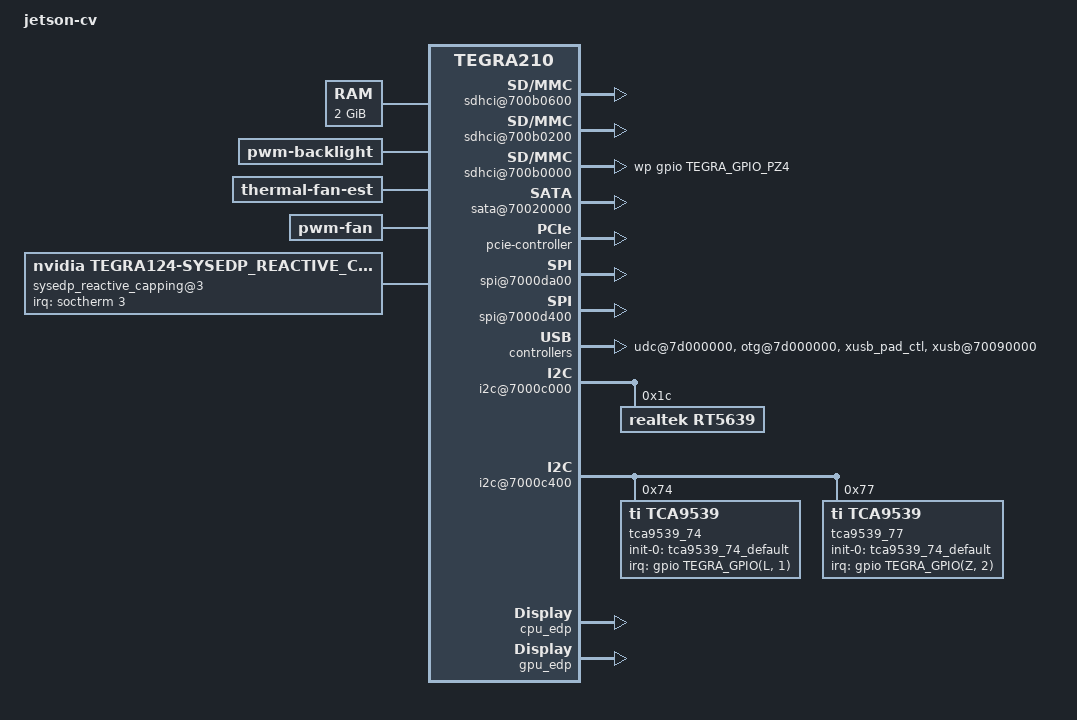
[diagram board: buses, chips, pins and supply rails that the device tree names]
/*
 * arch/arm64/boot/dts/tegra210-jetson-cv-base-p2597-2180-a00.dts
 *
 * Copyright (c) 2015, NVIDIA CORPORATION.  All rights reserved.
 *
 * This program is free software; you can redistribute it and/or modify
 * it under the terms of the GNU General Public License as published by
 * the Free Software Foundation; version 2 of the License.
 *
 * This program is distributed in the hope that it will be useful, but WITHOUT
 * ANY WARRANTY; without even the implied warranty of MERCHANTABILITY or
 * FITNESS FOR A PARTICULAR PURPOSE.  See the GNU General Public License for
 * more details.
 *
 */

/dts-v1/;

/memreserve/ 0x80000000 0x00020000;

#include "tegra210-common.dtsi"
#include "tegra210-platforms/tegra210-jetson-cv-power-tree-p2597-2180-a00.dtsi"
#include "tegra210-platforms/tegra210-jetson-cv-pinmux-p2597-2180-a00.dtsi"
#include "tegra210-platforms/tegra210-jetson-cv-sdmmc-drv-p2597-2180-a00.dtsi"
#include "tegra210-platforms/tegra210-pwm-fan-p2530-0930.dtsi"
#include "tegra210-platforms/tegra210-sdhci.dtsi"
#include "tegra210-platforms/tegra210-p2530-common.dtsi"
#include "tegra210-platforms/tegra210-thermal-fan-est-p2530-0930.dtsi"
#include "tegra210-platforms/tegra210-keys-p2530-0930.dtsi"
#include <dt-bindings/iio/meter/ina3221x.h>
#include "tegra210-platforms/tegra210-foster-e-extcon-p2530-0930-e01.dtsi"
#include "tegra210-platforms/tegra210-loki-e-emc-a01.dtsi"
#include "tegra210-platforms/tegra210-edp.dtsi"
#include "tegra210-platforms/tegra210-sysedp.dtsi"
#include "tegra210-platforms/tegra210-thermal-nct72-p2530.dtsi"
#include "tegra210-platforms/tegra210-thermal-Tboard-Tdiode.dtsi"


/ {
	model = "jetson-cv";
	compatible = "nvidia,jetson-cv", "nvidia,tegra210";
	nvidia,dtsfilename = __FILE__;

	nvidia,boardids = "2597:2180:A0";
	nvidia,proc-boardid = "2597:2180:A0";
	nvidia,pmu-boardid = "2597:2180:A0";
	#address-cells = <2>;
	#size-cells = <2>;

	chosen {
        };

	pmc@7000e400 {
		nvidia,invert-interrupt;
		platform-io-pad-voltage = <
				TEGRA210_PAD_AUDIO_HV IO_PAD_VOLTAGE_1_8V
				TEGRA210_PAD_SPI_HV IO_PAD_VOLTAGE_1_8V>;
	};

	memory@80000000 {
		device_type = "memory";
		reg = < 0x0 0x80000000 0x0 0x80000000 >;
	};

	sdhci@700b0600 { /* SDMMC4 for EMMC */
		uhs-mask = <0x0>;
		built-in;
		pll_source = "pll_p", "pll_c4_out2";
		power-off-rail;
		status = "okay";
	};

	sdhci@700b0200 { /* SDMMC2 for Wifi */
		uhs-mask = <0x8>;
		power-off-rail;
		status = "okay";
	};

	sdhci@700b0000 { /* SDMMC1 for SD card */
		uhs-mask = <0xc>;
		power-off-rail;
		nvidia,update-pinctrl-settings;
		pinctrl-names = "sdmmc_schmitt_enable", "sdmmc_schmitt_disable", "sdmmc_clk_schmitt_enable", "sdmmc_clk_schmitt_disable", "sdmmc_drv_code", "sdmmc_default_drv_code";
		pinctrl-0 = <&sdmmc1_schmitt_enable_state>;
		pinctrl-1 = <&sdmmc1_schmitt_disable_state>;
		pinctrl-2 = <&sdmmc1_clk_schmitt_enable_state>;
		pinctrl-3 = <&sdmmc1_clk_schmitt_disable_state>;
		pinctrl-4 = <&sdmmc1_drv_code_1_8V>;
		pinctrl-5 = <&sdmmc1_default_drv_code_3_3V>;
		nvidia,sd-device;
		wp-gpios = <&gpio TEGRA_GPIO_PZ4 0>;
		status = "okay";
	};

	adma@702e2000  {
		interrupts = <0 24 0x04
			      0 25 0x04
			      0 26 0x04
			      0 27 0x04
			      0 28 0x04
			      0 29 0x04
			      0 30 0x04
			      0 31 0x04
			      0 32 0x04
			      0 33 0x04>;
		dma-channels = <10>;
		status = "okay";
	};

	sata@70020000 {
		compatible = "nvidia,tegra210-ahci-sata";
		nvidia,enable-sata-port;
		status = "okay";
	};

	backlight {
		compatible = "pwm-backlight";
		status = "okay";
		panel-s-wqxga-10-1-bl {
			pwms = <&tegra_pwm 0 1000000>;
		};
		panel-a-wuxga-8-0-bl {
			pwms = <&tegra_pwm 0 40161>;
		};
	};

	pcie-controller {
		nvidia,wake-gpio = <&gpio TEGRA_GPIO(A, 2) 0>;
		nvidia,lane-map = <0x14>;
		dvdd-pex-pll-supply = <&max77620_ldo1>;
		l0-dvddio-pex-supply = <&max77620_ldo1>;
		l1-dvddio-pex-supply = <&max77620_ldo1>;
		l2-dvddio-pex-supply = <&max77620_ldo1>;
		l3-dvddio-pex-supply = <&max77620_ldo1>;
		l4-dvddio-pex-supply = <&max77620_ldo1>;
		l5-dvddio-pex-supply = <&max77620_ldo1>;
		l6-dvddio-pex-supply = <&max77620_ldo1>;
		hvdd-pex-pll-e-supply = <&max77620_sd3>;
		l0-hvddio-pex-supply = <&max77620_sd3>;
		l1-hvddio-pex-supply = <&max77620_sd3>;
		l2-hvddio-pex-supply = <&max77620_sd3>;
		l3-hvddio-pex-supply = <&max77620_sd3>;
		l4-hvddio-pex-supply = <&max77620_sd3>;
		l5-hvddio-pex-supply = <&max77620_sd3>;
		l6-hvddio-pex-supply = <&max77620_sd3>;
		vddio-pex-ctl-supply = <&max77620_sd3>;
		status = "okay";

		pci@1,0 {
			status = "okay";
		};

		pci@2,0 {
			status = "okay";
		};
	};

	spi@7000da00 {
		status = "ok";
	};

	spi@7000d400 {
		status = "okay";
	};

	extcon {
		extcon@0 {
			status = "disabled";
		};
	};

	udc@7d000000 {
		nvidia,port-otg;
		nvidia,charging-supported;
		#extcon-cells = <1>;
		status = "okay";
	};

        otg@7d000000 {
		#extcon-cells = <1>;
		status = "okay";
	};

	xusb_pad_ctl: padctl@0 { /* Put common control config here */
		nvidia,ss_portmap = <0x21>;
		nvidia,lane_owner = <0xff56>; /* Use 0xF to disable lane assign */
		status = "okay";
	};

	xusb@70090000 {
		/* nvidia,uses_external_pmic;
		/* nvidia,gpio_controls_muxed_ss_lanes; */
		nvidia,gpio_ss1_sata = <0>;
		nvidia,ulpicap = <0>; /* No ulpi support. can we remove */
		nvidia,portmap = <0x0e02>;
		nvidia,common_padctl = <&xusb_pad_ctl>;
		status = "okay";
	};

	xudc@700d0000 {
		nvidia,common_padctl = <&xusb_pad_ctl>;
		nvidia,portmap = <0x0108>;
		#extcon-cells = <1>;
		status = "disabled";
	};

	xotg {
		#extcon-cells = <1>;
		nvidia,common_padctl = <&xusb_pad_ctl>;
		status = "disabled";
	};

	gpio-keys {
		power {
			gpios = <&gpio TEGRA_GPIO(X, 7) GPIO_ACTIVE_LOW>;
		};

		sw_lid {
			status="disabled";
		};
	};

	gpu-dvfs-rework {
		status = "disabled";
	};

	thermal-fan-est {
		compatible = "thermal-fan-est";
		active_trip_temps = <0 63000 74000 85000 120000
				140000 150000 160000 170000 180000>;
		active_hysteresis = <0 15000 11000 6000 4000
				0 0 0 0 0>;
	};

	pwm-fan {
		compatible = "pwm-fan";
		shared_data = <&pwm_fan_shared_data>;
		active_pwm = <0 70 115 135 135 240 245 250 252 255>;
	};

	i2c@7000c000 {
		rt5639: rt5639.0-001c@1c {
			compatible = "realtek,rt5639";
			reg = <0x1c>;
		};
	};

	i2c@7000c400 {
		nvidia,clock-always-on;

		tca9539_74: tca9539@74 {
			compatible = "ti,tca9539";
			gpio-controller;
			#gpio-cells = <2>;
			reg = <0x74>;
			interrupt-parent = <&gpio>;
			interrupts = <TEGRA_GPIO(L, 1) 0x0>;
			gpio-init-names = "default";
			gpio-init-0 = <&tca9539_74_default>;
			tca9539_74_default: default {
				/*
				 * GPIO-10 : M2_E_ALERT_R_L
				 * GPIO-13 : TOUCH_ID
				 */
				gpio-input = <10 13>;

				/*
				 * GPIO-1 : EN_VDD_TS_1V8_PMIC
				 * GPIO-2 : EN_VDD_TS_HV_PMIC
				 * GPIO-3 : EN_VDD_DISP,
				 * GPIO-4 : PS_VDD_FAN_ENABLE
				 * GPIO-5 : MDM_EN
				 * GPIO-7 : MDM_EN, MDM_PWR_EN
				 * GPIO-11 : VDD_DISP_MUX_EN
				 * GPIO-12 : FLASH_INHIBIT
				 * GPIO-14 : 5V0_HDMI_EN
				 * GPIO-15 : EN_VDD_CAM_HV
				 * GPIO-16,17 : TP83, TP84
				 */
				gpio-output-low = <1 2 3 4 5 7 11 12 14 15 16 17>;

				/*
				 * GPIO-0 : W_DISABLE_L
				 * GPIO-6 : MDM_RST_L
				 */
				gpio-output-high = <0 6>;
			};
		};

		tca9539_77: tca9539@77 {
			compatible = "ti,tca9539";
			gpio-controller;
			#gpio-cells = <2>;
			reg = <0x77>;
			interrupt-parent = <&gpio>;
			interrupts = <TEGRA_GPIO(Z, 2) 0x0>;
			gpio-init-names = "default";
			gpio-init-0 = <&tca9539_74_default>;
			tca9539_77_default: default {
				/*
				 * GPIO-0 : DISP_CHARGER_STAT
				 * GPIO-1 : DISP_TYPEC_ORIENT
				 */
				gpio-input = <0 1>;

				/*
				 * GPIO-2 : TYPEC_INT		 Charger control HDR
				 * GPIO-3 : VDD_SYS_EN		 CAM HEADER
				 * GPIO-4 : LCD_BIAS_EN		 CAM HEADER
				 * GPIO-5 : TORCH_EN		 CAM HEADER
				 * GPIO-6 : FLASH_INHIBIT 	 CAM HEADER
				 * GPIO-7 : CAM2_PWDN		 CAM HEADER
				 * GPIO-10 : CAM2_RST		 CAM HEADER
				 * GPIO-11 : CAM_VDD_1V8_EN 	 CAM HEADER
				 * GPIO-12 : CAM_VDD_1V2_EN 	 CAM HEADER
				 * GPIO-13 : CAM_AF_PWDN    	 CAM HEADER
				 * GPIO-14 : CHG_BD_PRSNT_L 	 CAM HEADER
				 * GPIO-15 : BRIDGE_EN		 CAM HEADER
				 * GPIO-16 : NVSR_INT		 CAM HEADER
				 * GPIO-17 : BRIDGE_IRQ		 CAM HEADER
				 */
				gpio-output-low = <2 3 4 5 6 7 10 11 12 13 14 15 16 17>;
			};
		};
	};

	i2c@546c0000 {
		avdd_dsi_csi-supply = <&max77620_gpio7>;
	};

	sysedp {
		compatible = "nvidia,tegra124-sysedp";
		nvidia,margin = <0>;
		nvidia,min_budget = <0>;
		nvidia,initial_budget = <40000>;

		consumers {
			consumer1 {
				nvidia,consumer_name = "ov7695";
				nvidia,states = <0 124>;
			};
			consumer2 {
				nvidia,consumer_name = "primary-wifi";
				nvidia,states = <0 2345>;
			};
			consumer3 {
				nvidia,consumer_name = "secondary-wifi";
				nvidia,states = <0 1170>;
			};
			/*eMMC*/
			consumer4 {
				nvidia,consumer_name = "sdhci-tegra.3";
				nvidia,states = <0 1785>;
			};
			consumer5 {
				nvidia,consumer_name = "display_0";
				nvidia,states = <0 616>;
			};
			consumer6 {
				nvidia,consumer_name = "display_1";
				nvidia,states = <0 616>;
			};
			consumer7 {
				nvidia,consumer_name = "codec+speaker";
				nvidia,states = <0 1270>;
			};
			consumer8 {
				nvidia,consumer_name = "pwm-backlight";
				nvidia,states = <0 127 255 382 510 638 765 893 1020 1148 1276>;
			};
			/*SD Card */
			consumer9 {
				nvidia,consumer_name = "sdhci-tegra.0";
				nvidia,states = <0 1785>;
			};
		};
	};

    sysedp_reactive_capping@3 {
        compatible = "nvidia,tegra124-sysedp_reactive_capping";
        nvidia,max_capping_mw = <15000>;
        nvidia,step_alarm_mw = <1000>;
        nvidia,step_relax_mw = <500>;
        nvidia,relax_ms = <250>;
        interrupt-parent = <&soctherm>;
        interrupts = <3 0x2002>;
        sysedpc {
            nvidia,name = "batmon_oc3";
        };
    };

    sysedp-dynamic-capping {
        compatible = "nvidia,tegra124-sysedp-dynamic-capping";
        nvidia,throttle_depth = <75>;
        nvidia,cap_method = <1>;
    };

	cpu_edp {
		status = "okay";
		nvidia,edp_limit = <25000>;
	};

	gpu_edp {
		status = "okay";
		nvidia,edp_limit = <25000>;
	};

	modem {
		/* using XHCI UTMI */
		nvidia,phy-type = <2>;
	};

	soctherm@0x700E2000 {
		throttle@oc1 {
			device_type = "throttlectl";
			oc-alarm-id = <1>;
			priority = <50>;
			mode = "brief";
			intr;
			active_low;
			count_threshold = <100>;
			filter = <5100000>;
			throttle_dev = <&{/soctherm@0x700E2000/throttle_dev@cpu_medium}
					&{/soctherm@0x700E2000/throttle_dev@gpu_medium}>;
		};
		throttle@oc3 {
			device_type = "throttlectl";
			oc-alarm-id = <3>;
			priority = <50>;
			mode = "brief";
			intr;
			active_low;
			count_threshold = <15>;
			filter = <5100000>;
			throttle_dev = <&{/soctherm@0x700E2000/throttle_dev@cpu_medium}
					&{/soctherm@0x700E2000/throttle_dev@gpu_medium}>;
		};
		throttle_dev@cpu_medium {
			dividend = <63>;
			divisor = <255>;
			duration = <0>;
			step = <0>;
		};
		throttle_dev@gpu_medium {
			level = "medium_throttling";
		};
	};

	thermal-zones {
		CPU-therm {
			thermal-zone-params {
				governor-name = "pid_thermal_gov";
				max_err_temp = <9000>;
				max_err_gain = <1000>;
				gain_p = <1000>;
				gain_d = <0>;
				up_compensation = <20>;
				down_compensation = <20>;
			};
			trips {
				cpu_critical {
					temperature = <102500>;
					hysteresis = <0>;
					type = "critical";
					writable;
				};
				cpu_heavy {
					temperature = <98500>;
					hysteresis = <0>;
					type = "hot";
					writable;
				};
				cpu_throttle {
					temperature = <89000>;
					hysteresis = <0>;
					type = "passive";
					writable;
				};
			};
			cooling-maps {
				map0 {
					trip = <&{/thermal-zones/CPU-therm/trips/cpu_critical}>;
					cdev-type = "tegra-shutdown";
					cooling-device = <&{/soctherm@0x700E2000/throttle@critical}
						THERMAL_NO_LIMIT THERMAL_NO_LIMIT>;
				};
				map1 {
					trip = <&{/thermal-zones/CPU-therm/trips/cpu_heavy}>;
					cdev-type = "tegra-heavy";
					cooling-device = <&{/soctherm@0x700E2000/throttle@heavy}
						THERMAL_NO_LIMIT THERMAL_NO_LIMIT>;
				};
				map2 {
					trip = <&{/thermal-zones/CPU-therm/trips/cpu_throttle}>;
					cdev-type = "cpu-balanced";
					cooling-device = <&{/bthrot_cdev/cpu_balanced}
						THERMAL_NO_LIMIT THERMAL_NO_LIMIT>;
				};
			};
		};
		GPU-therm {
			thermal-zone-params {
				governor-name = "pid_thermal_gov";
				max_err_temp = <9000>;
				max_err_gain = <1000>;
				gain_p = <1000>;
				gain_d = <0>;
				up_compensation = <20>;
				down_compensation = <20>;
			};
			trips {
				gpu_critical {
					temperature = <103000>;
					hysteresis = <0>;
					type = "critical";
					writable;
				};
				gpu_heavy {
					temperature = <100000>;
					hysteresis = <0>;
					type = "hot";
					writable;
				};
				gpu_throttle {
					temperature = <90500>;
					hysteresis = <0>;
					type = "passive";
					writable;
				};
			};
			cooling-maps {
				map0 {
					trip = <&{/thermal-zones/GPU-therm/trips/gpu_critical}>;
					cdev-type = "tegra-shutdown";
					cooling-device = <&{/soctherm@0x700E2000/throttle@critical}
						THERMAL_NO_LIMIT THERMAL_NO_LIMIT>;
				};
				map1 {
					trip = <&{/thermal-zones/GPU-therm/trips/gpu_heavy}>;
					cdev-type = "tegra-heavy";
					cooling-device = <&{/soctherm@0x700E2000/throttle@heavy}
						THERMAL_NO_LIMIT THERMAL_NO_LIMIT>;
				};
				map2 {
					trip = <&{/thermal-zones/GPU-therm/trips/gpu_throttle}>;
					cdev-type = "gpu-balanced";
					cooling-device = <&{/bthrot_cdev/gpu_balanced}
						THERMAL_NO_LIMIT THERMAL_NO_LIMIT>;
				};
			};
		};
		LCPU-therm {
			thermal-zone-params {
				governor-name = "pid_thermal_gov";
				max_err_temp = <9000>;
				max_err_gain = <1000>;
				gain_p = <1000>;
				gain_d = <0>;
				up_compensation = <20>;
				down_compensation = <20>;
			};
			trips {
				lcpu_critical {
					temperature = <103000>; /* must be same as GPU's critical temp */
					hysteresis = <0>;
					type = "critical";
					writable;
				};
				lcpu_heavy {
					temperature = <101500>;
					hysteresis = <0>;
					type = "hot";
					writable;
				};
				lcpu_throttle {
					temperature = <92000>;
					hysteresis = <0>;
					type = "passive";
					writable;
				};
			};
			cooling-maps {
				map0 {
					trip = <&{/thermal-zones/LCPU-therm/trips/lcpu_critical}>;
					cdev-type = "tegra-shutdown";
					cooling-device = <&{/soctherm@0x700E2000/throttle@critical}
						THERMAL_NO_LIMIT THERMAL_NO_LIMIT>;
				};
				map1 {
					trip = <&{/thermal-zones/LCPU-therm/trips/lcpu_heavy}>;
					cdev-type = "tegra-heavy";
					cooling-device = <&{/soctherm@0x700E2000/throttle@heavy}
						THERMAL_NO_LIMIT THERMAL_NO_LIMIT>;
				};
				map2 {
					trip = <&{/thermal-zones/LCPU-therm/trips/lcpu_throttle}>;
					cdev-type = "cpu-balanced";
					cooling-device = <&{/bthrot_cdev/cpu_balanced}
						THERMAL_NO_LIMIT THERMAL_NO_LIMIT>;
				};
			};
		};
		PLL-therm {
			thermal-zone-params {
				governor-name = "pid_thermal_gov";
				max_err_temp = <9000>;
				max_err_gain = <1000>;
				gain_p = <1000>;
				gain_d = <0>;
				up_compensation = <20>;
				down_compensation = <20>;
			};
		};

		Tboard_tegra {
			status = "okay";
		};
		Tdiode_tegra {
			status = "okay";
		};
	};

	soctherm@0x700E2000 {
		throttle@oc3 {
			device_type = "throttlectl";
			oc-alarm-id = <3>;
			priority = <50>;
			mode = "brief";
			intr;
			active_low;
			count_threshold = <15>;
			filter = <5100000>;
			throttle_dev = <&{/soctherm@0x700E2000/throttle_dev@cpu_medium}
					&{/soctherm@0x700E2000/throttle_dev@gpu_medium}>;
		};
		throttle_dev@cpu_medium {
			dividend = <63>;
			divisor = <255>;
			duration = <0>;
			step = <0>;
		};
		throttle_dev@gpu_medium {
			level = "medium_throttling";
		};
	};

	sysedp_reactive_capping@3 {
		compatible = "nvidia,tegra124-sysedp_reactive_capping";
		nvidia,max_capping_mw = <15000>;
		nvidia,step_alarm_mw = <1000>;
		nvidia,step_relax_mw = <500>;
		nvidia,relax_ms = <250>;
		interrupt-parent = <&soctherm>;
		interrupts = <3 0x2002>;
		sysedpc {
			nvidia,name = "batmon_oc3";
		};
	};

	sysedp-dynamic-capping {
		compatible = "nvidia,tegra124-sysedp-dynamic-capping";
		nvidia,throttle_depth = <75>;
		nvidia,cap_method = <1>;
	};

};
